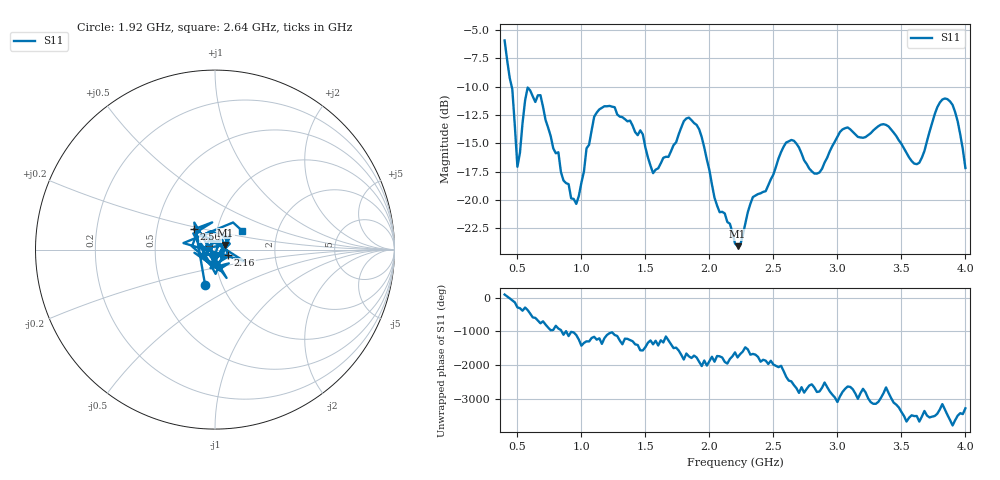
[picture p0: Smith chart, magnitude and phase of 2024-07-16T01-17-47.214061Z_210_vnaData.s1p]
!Created with skrf (http://scikit-rf.org).
# Hz S RI R 50.0
!freq ReS11 ImS11
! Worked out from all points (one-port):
!   181 points, 400 MHz to 4 GHz, reference 50 ohm
!   lowest |S11| = -24.1 dB at 2.22 GHz (marker M1), VSWR 1.13, Z = 56 + j2.82 ohm
!   |S11| at or under -10 dB: 455.9 MHz to end of sweep
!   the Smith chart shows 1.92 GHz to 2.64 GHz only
!   S11 on the Smith chart (normalised r, x): 1.92 GHz: 0.83, -0.34; 2.16 GHz: 1.15, -0.07; 2.56 GHz: 0.77, +0.18; 2.64 GHz: 1.32, +0.29
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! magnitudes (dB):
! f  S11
! 400 MHz  -5.9
! 460 MHz  -10.2
! 500 MHz  -17.1
! 580 MHz  -10.1
! 680 MHz  -10.7
! 860 MHz  -18.3
! 960 MHz  -20.3
! 1.1 GHz  -12.6
! 1.3 GHz  -12.6
! 1.48 GHz  -14.2
! 1.56 GHz  -17.6
! 1.76 GHz  -14.2
! 1.92 GHz  -13.8
! 2.04 GHz  -19.8
! 2.16 GHz  -22.1
! 2.2 GHz  -23.9
! 2.22 GHz  -24.1
! 2.56 GHz  -15.8
! 2.64 GHz  -14.7
! 2.66 GHz  -14.8
! 2.84 GHz  -17.7
! 3.1 GHz  -13.8
! 3.38 GHz  -13.4
! 3.56 GHz  -16.2
! 3.64 GHz  -16.7
! 3.84 GHz  -11.0
! 3.92 GHz  -12.2
! 4 GHz  -17.2
